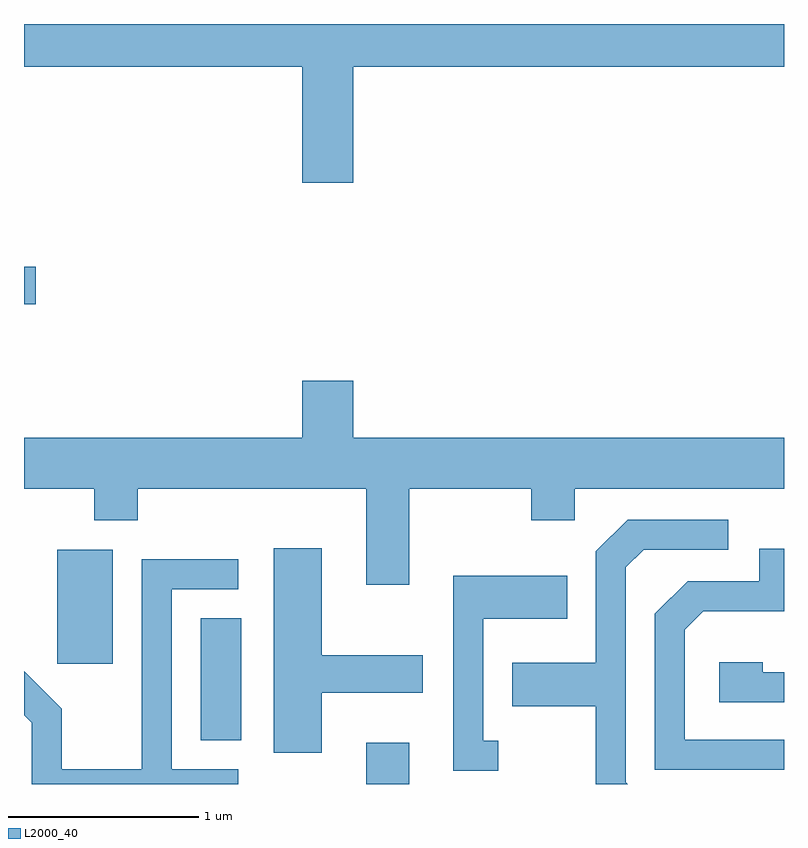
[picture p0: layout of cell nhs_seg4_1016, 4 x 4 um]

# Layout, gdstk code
import gdstk
lib = gdstk.Library(unit=1e-6, precision=1e-09)
def R(c, l, rs):  # rectangles x0, y0, x1, y1
    for r in rs: c.add(gdstk.rectangle(r[:2], r[2:], *l))
def P(c, l, *ps):  # polygons
    for p in ps: c.add(gdstk.Polygon(p, *l))
L2000_40 = (2000, 40)

nhs_seg4_1016 = lib.new_cell('nhs_seg4_1016')
R(nhs_seg4_1016, L2000_40, [(215.411,1381.982,215.639,1382.199), (214.541,1382.211,214.754,1382.854), (213.786,1382.616,214.079,1383.214), (213.611,1384.506,213.674,1384.704)])
P(nhs_seg4_1016, L2000_40, [(215.344,1385.756),(217.611,1385.756),(217.611,1385.982),(213.611,1385.982),(213.611,1385.756),(215.076,1385.756),(215.076,1385.146),(215.344,1385.146)],
  [(215.639,1383.536),(216.281,1383.536),(216.281,1383.371),(216.509,1383.371),(216.509,1383.536),(217.611,1383.536),(217.611,1383.804),(215.344,1383.804),(215.344,1384.104),(215.076,1384.104),(215.076,1383.804),(213.611,1383.804),(213.611,1383.536),(213.981,1383.536),(213.981,1383.371),(214.209,1383.371),(214.209,1383.536),(215.411,1383.536),(215.411,1383.031),(215.639,1383.031)],
  [(216.779,1381.992),(216.779,1383.124),(216.872,1383.216),(217.318,1383.216),(217.318,1383.374),(216.789,1383.374),(216.621,1383.207),(216.621,1382.619),(216.181,1382.619),(216.181,1382.391),(216.621,1382.391),(216.621,1381.982),(216.789,1381.982)],
  [(215.179,1382.461),(215.709,1382.461),(215.709,1382.659),(215.179,1382.659),(215.179,1383.224),(214.926,1383.224),(214.926,1382.146),(215.179,1382.146)],
  [(217.611,1382.214),(217.089,1382.214),(217.089,1382.794),(217.187,1382.891),(217.611,1382.891),(217.611,1383.219),(217.481,1383.219),(217.481,1383.049),(217.104,1383.049),(216.931,1382.877),(216.931,1382.056),(217.611,1382.056)],
  [(214.738,1382.059),(214.389,1382.059),(214.389,1383.006),(214.738,1383.006),(214.738,1383.164),(214.231,1383.164),(214.231,1382.059),(213.809,1382.059),(213.809,1382.377),(213.611,1382.575),(213.611,1382.344),(213.651,1382.304),(213.651,1381.982),(214.738,1381.982)],
  [(216.108,1382.209),(216.029,1382.209),(216.029,1382.851),(216.469,1382.851),(216.469,1383.079),(215.871,1383.079),(215.871,1382.051),(216.108,1382.051)],
  [(217.611,1382.569),(217.499,1382.569),(217.499,1382.624),(217.271,1382.624),(217.271,1382.411),(217.611,1382.411)])

lib.write_gds('nhs_seg4_1016.gds')
